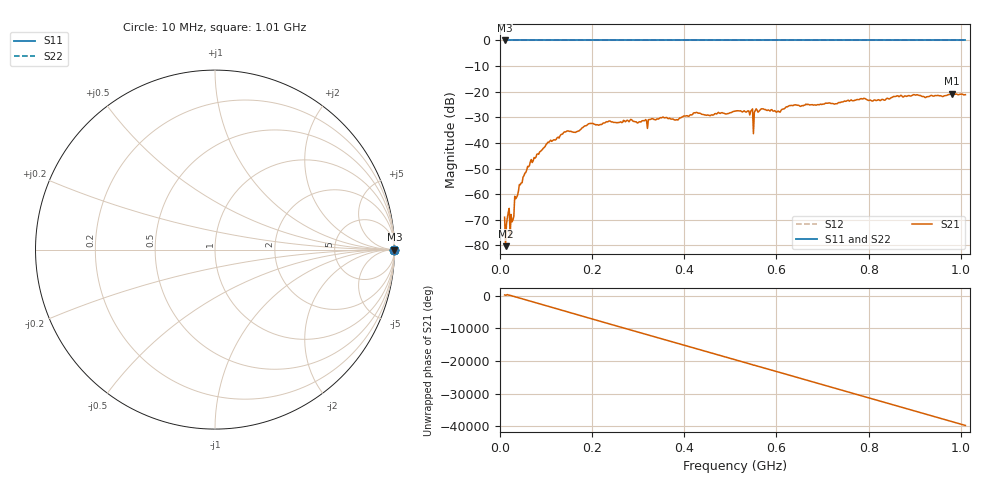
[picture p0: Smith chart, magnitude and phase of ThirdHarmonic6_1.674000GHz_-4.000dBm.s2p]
! 8/16/2025 8:04:32 PM
! C:\ANRITSUVNA\TEMP\TEMP.S2P
! CHANNEL.1
! TR.MEASUREMENT
! RAW.DATA
! RF.CORRECTION.OFF
! AVERAGING.OFF
! IF.BANDWIDTH: 5KHZ
! SWEEPTYPE:  FREQ.SWEEP(Linear)
! Reference Plane Port Info
! PORT:  PORT1  PORT2
! DISTANCE:  0  m  0  m
! TIME:  0  s  0  s
! PHASE.OFFSET:  0  deg.  0  deg.
! LOSS:  0  dB  0  dB
! REF.LOSS:  0  dB  0  dB
! REF.FREQ:  0  Hz  0  Hz
! Power Info
! POWER:  -20  dBm  -20  dBm
! EFF.POWER:  -20  dBm  -20  dBm
! SOURCE.ATTEN:  0  dB  0  dB
! TEST.ATTEN:  0  dB  0  dB
# GHZ S RI R 50.0
! FREQ.GHZ  S11RE  S11IM  S21RE  S21IM  S12RE  S12IM  S22RE  S22IM
!; PortSelection: Port_12
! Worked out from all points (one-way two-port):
!   501 points, 10 MHz to 1.01 GHz, reference 50 ohm
!   highest |S21| = -20.80 dB at 980 MHz (marker M1); lowest = -80.3 dB at 12 MHz (marker M2)
!   lowest |S11| = 0.0 dB at 10 MHz (marker M3)
!   |S11| at or under -10 dB: nowhere
!   |S22| runs from 0.0 to 0.0 dB; largest |S21 - S12| = 1.1
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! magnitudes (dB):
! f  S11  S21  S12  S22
! 10 MHz  0.0  -69.0  0.0  0.0
! 12 MHz  0.0  -80.3  0.0  0.0
! 20 MHz  0.0  -65.5  0.0  0.0
! 26 MHz  0.0  -70.8  0.0  0.0
! 36 MHz  0.0  -61.2  0.0  0.0
! 56 MHz  0.0  -51.5  0.0  0.0
! 70 MHz  0.0  -47.6  0.0  0.0
! 106 MHz  0.0  -39.8  0.0  0.0
! 142 MHz  0.0  -35.7  0.0  0.0
! 178 MHz  0.0  -34.1  0.0  0.0
! 196 MHz  0.0  -32.4  0.0  0.0
! 344 MHz  0.0  -30.7  0.0  0.0
! 510 MHz  0.0  -27.5  0.0  0.0
! 544 MHz  0.0  -27.7  0.0  0.0
! 546 MHz  0.0  -27.1  0.0  0.0
! 568 MHz  0.0  -26.6  0.0  0.0
! 604 MHz  0.0  -27.5  0.0  0.0
! 630 MHz  0.0  -25.4  0.0  0.0
! 678 MHz  0.0  -25.0  0.0  0.0
! 844 MHz  0.0  -22.8  0.0  0.0
! 980 MHz  0.0  -20.8  0.0  0.0
! 1.01 GHz  0.0  -21.1  0.0  0.0
